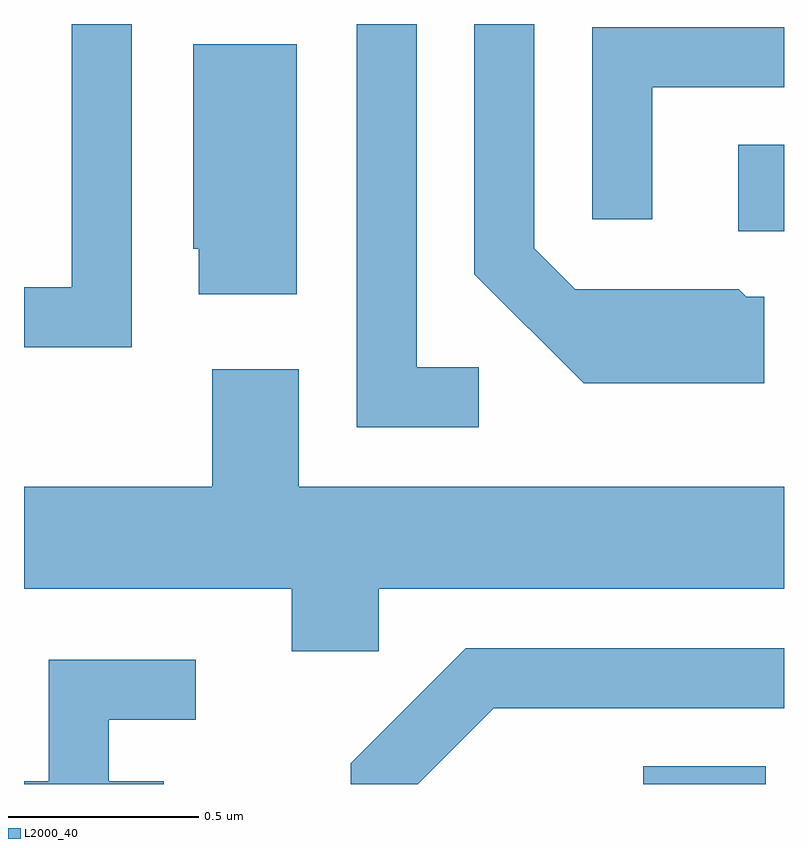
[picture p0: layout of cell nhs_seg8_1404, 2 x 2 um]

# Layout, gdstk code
import gdstk
lib = gdstk.Library(unit=1e-6, precision=1e-09)
def R(c, l, rs):  # rectangles x0, y0, x1, y1
    for r in rs: c.add(gdstk.rectangle(r[:2], r[2:], *l))
def P(c, l, *ps):  # polygons
    for p in ps: c.add(gdstk.Polygon(p, *l))
L2000_40 = (2000, 40)

nhs_seg8_1404 = lib.new_cell('nhs_seg8_1404')
R(nhs_seg8_1404, L2000_40, [(197.241,1840.342,197.563,1840.389), (197.491,1841.796,197.611,1842.024)])
P(nhs_seg8_1404, L2000_40, [(195.894,1842.342),(195.736,1842.342),(195.736,1841.649),(195.611,1841.649),(195.611,1841.491),(195.894,1841.491)],
  [(197.559,1841.624),(197.512,1841.624),(197.492,1841.644),(197.062,1841.644),(196.954,1841.752),(196.954,1842.342),(196.796,1842.342),(196.796,1841.684),(197.084,1841.396),(197.559,1841.396)],
  [(196.808,1841.439),(196.644,1841.439),(196.644,1842.342),(196.486,1842.342),(196.486,1841.281),(196.808,1841.281)],
  [(197.264,1842.176),(197.611,1842.176),(197.611,1842.334),(197.106,1842.334),(197.106,1841.828),(197.264,1841.828)],
  [(196.329,1842.289),(196.056,1842.289),(196.056,1841.75),(196.071,1841.75),(196.071,1841.631),(196.329,1841.631)],
  [(196.544,1840.856),(197.611,1840.856),(197.611,1841.124),(196.334,1841.124),(196.334,1841.434),(196.106,1841.434),(196.106,1841.124),(195.611,1841.124),(195.611,1840.856),(196.316,1840.856),(196.316,1840.691),(196.544,1840.691)],
  [(196.847,1840.541),(197.611,1840.541),(197.611,1840.699),(196.774,1840.699),(196.471,1840.397),(196.471,1840.342),(196.647,1840.342)],
  [(195.979,1840.349),(195.834,1840.349),(195.834,1840.511),(196.063,1840.511),(196.063,1840.669),(195.676,1840.669),(195.676,1840.349),(195.611,1840.349),(195.611,1840.342),(195.979,1840.342)])

lib.write_gds('nhs_seg8_1404.gds')
